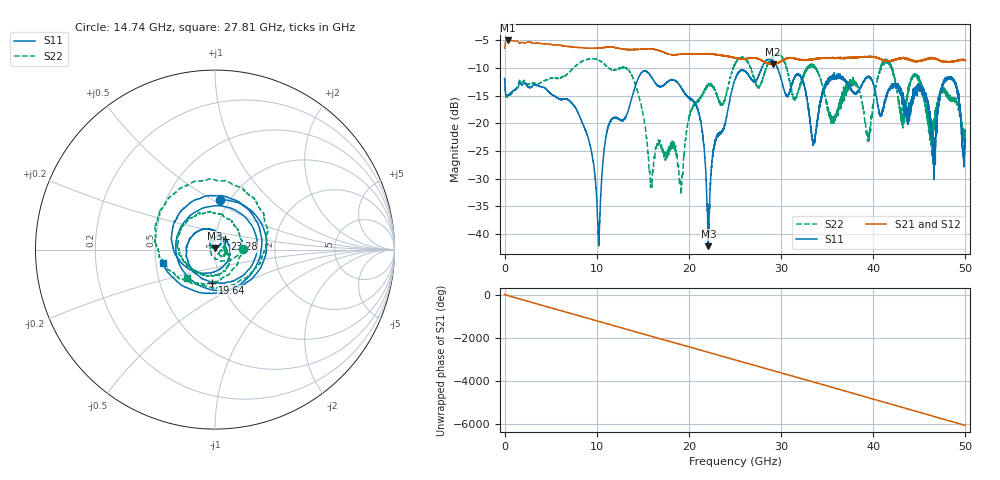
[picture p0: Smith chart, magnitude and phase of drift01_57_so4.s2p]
!Created with skrf (http://scikit-rf.org).
# Hz S RI R 50.0
!freq ReS11 ImS11 ReS21 ImS21 ReS12 ImS12 ReS22 ImS22
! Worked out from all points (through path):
!   10001 points, 300 kHz to 50 GHz, reference 50 ohm
!   highest |S21| = -5.05 dB at 345.3 MHz (marker M1); lowest = -9.4 dB at 29.09 GHz (marker M2)
!   group delay of S21, straight-line fit = 336 ps
!   lowest |S11| = -42.2 dB at 22.12 GHz (marker M3), VSWR 1.02, Z = 49.9 + j0.767 ohm
!   |S11| at or under -10 dB: start of sweep to 27.9 GHz; 29.59362 GHz to 29.59952 GHz (5.91 MHz wide, 0.02 % of centre); 29.6 GHz to end of sweep
!   |S22| runs from -32.8 to -7.5 dB; largest |S21 - S12| = 0.011
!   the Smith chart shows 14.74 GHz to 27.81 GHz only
!   S11 on the Smith chart (normalised r, x): 14.74 GHz: 0.91, +0.54; 19.64 GHz: 0.90, -0.34; 23.28 GHz: 1.11, +0.13; 27.81 GHz: 0.54, -0.09
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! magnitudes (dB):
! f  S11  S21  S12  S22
! 300 kHz  -12.0  -6.4  -6.5  -11.8
! 345.3 MHz  -14.9  -5.1  -5.1  -15.3
! 8.335 GHz  -19.5  -6.3  -6.3  -8.9
! 10.21 GHz  -41.7  -6.4  -6.4  -8.6
! 11.24 GHz  -20.6  -6.2  -6.2  -10.0
! 14.74 GHz  -11.2  -6.6  -6.6  -16.2
! 15.88 GHz  -11.5  -6.6  -6.6  -30.5
! 16.67 GHz  -13.3  -6.8  -6.8  -23.3
! 19.64 GHz  -14.7  -7.5  -7.5  -22.9
! 21.23 GHz  -19.4  -7.5  -7.5  -15.4
! 22.12 GHz  -42.2  -7.5  -7.5  -13.2
! 23.28 GHz  -22.0  -7.7  -7.7  -16.3
! 25 GHz  -12.1  -8.2  -8.2  -9.4
! 27.81 GHz  -10.5  -8.6  -8.6  -13.0
! 29.09 GHz  -8.6  -9.4  -9.4  -8.2
! 33.34 GHz  -22.4  -8.5  -8.4  -9.6
! 39.46 GHz  -11.5  -8.0  -8.0  -21.8
! 41.67 GHz  -13.9  -8.7  -8.7  -9.3
! 45.41 GHz  -14.1  -8.6  -8.6  -15.0
! 46.56 GHz  -26.8  -8.3  -8.3  -20.2
! 48.55 GHz  -11.7  -8.9  -8.9  -15.8
! 50 GHz  -23.2  -8.7  -8.6  -23.1
